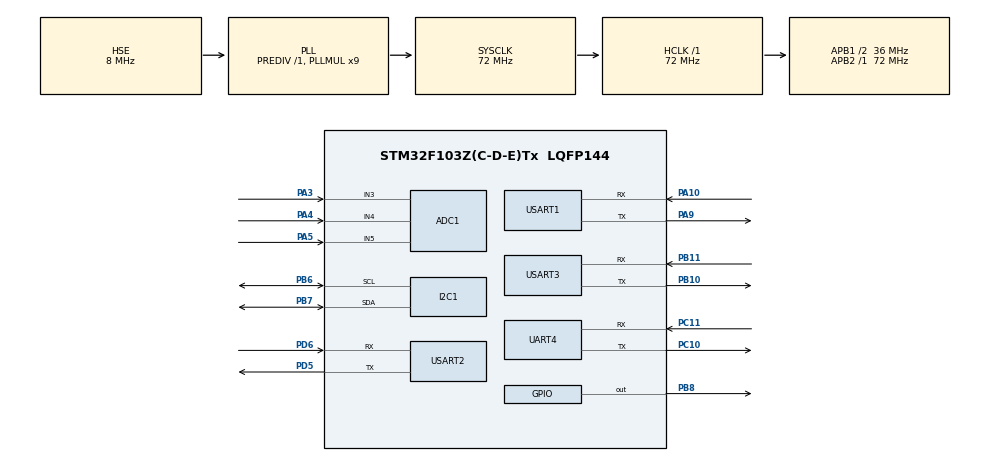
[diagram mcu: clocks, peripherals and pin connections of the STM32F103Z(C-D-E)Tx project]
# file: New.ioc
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ADC1.Channel-0\#ChannelRegularConversion=ADC_CHANNEL_3
ADC1.Channel-1\#ChannelRegularConversion=ADC_CHANNEL_4
ADC1.Channel-2\#ChannelRegularConversion=ADC_CHANNEL_5
ADC1.ContinuousConvMode=ENABLE
ADC1.NbrOfConversion=3
ADC1.NbrOfConversionFlag=1
ADC1.Rank-0\#ChannelRegularConversion=1
ADC1.Rank-1\#ChannelRegularConversion=2
ADC1.Rank-2\#ChannelRegularConversion=3
ADC1.SamplingTime-0\#ChannelRegularConversion=ADC_SAMPLETIME_239CYCLES_5
ADC1.SamplingTime-1\#ChannelRegularConversion=ADC_SAMPLETIME_239CYCLES_5
ADC1.SamplingTime-2\#ChannelRegularConversion=ADC_SAMPLETIME_239CYCLES_5
ADC1.master=1
Dma.ADC1.0.Direction=DMA_PERIPH_TO_MEMORY
Dma.ADC1.0.Instance=DMA1_Channel1
Dma.ADC1.0.MemDataAlignment=DMA_MDATAALIGN_HALFWORD
Dma.ADC1.0.MemInc=DMA_MINC_ENABLE
Dma.ADC1.0.Mode=DMA_NORMAL
Dma.ADC1.0.PeriphDataAlignment=DMA_PDATAALIGN_HALFWORD
Dma.ADC1.0.PeriphInc=DMA_PINC_DISABLE
Dma.ADC1.0.Priority=DMA_PRIORITY_MEDIUM
Dma.Request0=ADC1
Dma.Request1=USART2_RX
Dma.Request2=USART3_RX
Dma.USART2_RX.1.Direction=DMA_PERIPH_TO_MEMORY
Dma.USART2_RX.1.Instance=DMA1_Channel6
Dma.USART2_RX.1.MemDataAlignment=DMA_MDATAALIGN_BYTE
Dma.USART2_RX.1.MemInc=DMA_MINC_ENABLE
Dma.USART2_RX.1.Mode=DMA_NORMAL
Dma.USART2_RX.1.PeriphDataAlignment=DMA_PDATAALIGN_BYTE
Dma.USART2_RX.1.PeriphInc=DMA_PINC_DISABLE
Dma.USART2_RX.1.Priority=DMA_PRIORITY_LOW
Dma.USART3_RX.2.Direction=DMA_PERIPH_TO_MEMORY
Dma.USART3_RX.2.Instance=DMA1_Channel3
Dma.USART3_RX.2.MemDataAlignment=DMA_MDATAALIGN_BYTE
Dma.USART3_RX.2.MemInc=DMA_MINC_ENABLE
Dma.USART3_RX.2.Mode=DMA_NORMAL
Dma.USART3_RX.2.PeriphDataAlignment=DMA_PDATAALIGN_BYTE
Dma.USART3_RX.2.PeriphInc=DMA_PINC_DISABLE
Dma.USART3_RX.2.Priority=DMA_PRIORITY_LOW
I2C1.I2C_Mode=I2C_Fast
Mcu.Family=STM32F1
Mcu.Name=STM32F103Z(C-D-E)Tx
Mcu.Package=LQFP144
NVIC.DMA1_Channel1_IRQn=true\:2\:0\:true\:false\:true\:false\:true\:true
NVIC.DMA1_Channel3_IRQn=true\:0\:0\:false\:false\:true\:false\:true\:true
NVIC.DMA1_Channel6_IRQn=true\:0\:0\:false\:false\:true\:false\:true\:true
NVIC.PriorityGroup=NVIC_PRIORITYGROUP_4
NVIC.USART2_IRQn=true\:0\:0\:false\:false\:true\:true\:true\:true
NVIC.USART3_IRQn=true\:0\:0\:false\:false\:true\:true\:true\:true
OSC_IN.Mode=HSE-External-Oscillator
OSC_IN.Signal=RCC_OSC_IN
OSC_OUT.Mode=HSE-External-Oscillator
OSC_OUT.Signal=RCC_OSC_OUT
PA10.Mode=Asynchronous
PA10.Signal=USART1_RX
PA13.Mode=Serial_Wire
PA13.Signal=SYS_JTMS-SWDIO
PA14.Mode=Serial_Wire
PA14.Signal=SYS_JTCK-SWCLK
PA3.Signal=ADCx_IN3
PA4.Signal=ADCx_IN4
PA5.Signal=ADCx_IN5
PA9.Mode=Asynchronous
PA9.Signal=USART1_TX
PB10.Mode=Asynchronous
PB10.Signal=USART3_TX
PB11.Mode=Asynchronous
PB11.Signal=USART3_RX
PB6.Mode=I2C
PB6.Signal=I2C1_SCL
PB7.Mode=I2C
PB7.Signal=I2C1_SDA
PB8.Signal=GPIO_Output
PC10.Mode=Asynchronous
PC10.Signal=UART4_TX
PC11.Mode=Asynchronous
PC11.Signal=UART4_RX
PC14-OSC32_IN.Mode=LSE-External-Oscillator
PC14-OSC32_IN.Signal=RCC_OSC32_IN
PC15-OSC32_OUT.Mode=LSE-External-Oscillator
PC15-OSC32_OUT.Signal=RCC_OSC32_OUT
PD5.Mode=Asynchronous
PD5.Signal=USART2_TX
PD6.Mode=Asynchronous
PD6.Signal=USART2_RX
ProjectManager.HeapSize=0x200
ProjectManager.StackSize=0x400
ProjectManager.TargetToolchain=STM32CubeIDE
RCC.ADCPresc=RCC_ADCPCLK2_DIV6
RCC.AHBFreq_Value=72000000
RCC.APB1CLKDivider=RCC_HCLK_DIV2
RCC.APB1Freq_Value=36000000
RCC.APB1TimFreq_Value=72000000
RCC.APB2Freq_Value=72000000
RCC.APB2TimFreq_Value=72000000
RCC.HCLKFreq_Value=72000000
RCC.PLLMUL=RCC_PLL_MUL9
RCC.PLLSourceVirtual=RCC_PLLSOURCE_HSE
RCC.SYSCLKFreq_VALUE=72000000
RCC.SYSCLKSource=RCC_SYSCLKSOURCE_PLLCLK
RCC.USBFreq_Value=72000000
SH.ADCx_IN3.0=ADC1_IN3,IN3
SH.ADCx_IN4.0=ADC1_IN4,IN4
SH.ADCx_IN5.0=ADC1_IN5,IN5
UART4.VirtualMode=Asynchronous
USART1.VirtualMode=VM_ASYNC
USART2.VirtualMode=VM_ASYNC
USART3.VirtualMode=VM_ASYNC
board=custom

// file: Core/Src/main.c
/* USER CODE BEGIN Header */
/**
  ******************************************************************************
  * @file           : main.c
  * @brief          : Main program body
  ******************************************************************************
  * @attention
  *
  * Copyright (c) 2025 STMicroelectronics.
  * All rights reserved.
  *
  * This software is licensed under terms that can be found in the LICENSE file
  * in the root directory of this software component.
  * If no LICENSE file comes with this software, it is provided AS-IS.
  *
  ******************************************************************************
  */
/* USER CODE END Header */
#include "main.h"
#include "adc.h"
#include "dma.h"
#include "i2c.h"
#include "usart.h"
#include "gpio.h"

/* USER CODE BEGIN Includes */
#include "./mq4/mq4.h"
#include "./AHT20/AHT20.h"
#include "./MPU6050/mpu6050.h"
#include "../../SYSTEM/delay/delay.h"
#include "../../SYSTEM/sys/sys.h"
#include "./st25dv/st25dv.h"
#include "uart_pp.h"
/* USER CODE END Includes */

/* USER CODE BEGIN PTD */
extern ADC_HandleTypeDef hadc1;

MQ4_HandleTypeDef mq4;
/* USER CODE END PTD */

/* USER CODE BEGIN PD */
#define AT_BUF_SIZE 256
char at_rx_buf[AT_BUF_SIZE];  // 接收缓冲区
uint8_t rx_buf[256];  // 临时接收缓冲区
/* USER CODE END PD */

void SystemClock_Config(void);
/* USER CODE BEGIN PFP */
#define ADC_NbrOfCHN 3
#define ADC_SizeOfCHN 30
#define ADC_DMA_BUF_SIZE        ADC_NbrOfCHN*ADC_SizeOfCHN         /* ADC DMA采集 BUF大小 */
uint16_t g_adc_dma_buf[ADC_DMA_BUF_SIZE];   /* ADC DMA BUF */
extern uint8_t g_adc_dma_sta;               /* DMA传输状态标志, 0,未完成; 1, 已完成 */
#define PackSize 50
/* USER CODE END PFP */

/* USER CODE BEGIN 0 */
uint8_t tx_buf[] =
{
    0x43, 0x4E, 0x00, 0x00, 0x41, 0x16, 0x44, 0x16, 0x44, 0x16,
    0x44, 0x00, 0x32, 0x00, 0x32, 0x00, 0x32, 0x0D, 0x0A,
    0x42, 0x19, 0x0C, 0x1A, 0x37, 0x1B, 0x00, 0x1C, 0x21,
    0x1D, 0x5A, 0x1E, 0x00, 0x3C, 0x2D, 0x3D, 0x0A,
    0x03, 0x78, 0x03, 0x79, 0x0D, 0x0A,
    0x43, 0x03, 0x6C, 0x03, 0x8B, 0x08, 0x50, 0x19,
    0x00, 0x23, 0x3C, 0x0D, 0x0A,
    0x44, 0x01, 0x00, 0x01, 0x01, 0x00, 0x01, 0x00,
    0x00, 0x02, 0x0D, 0x0A
};

uint8_t g_TX_buf[67] = {0};
void sort_copy_u8(uint8_t *producer1, uint8_t *producer2,uint8_t *consumer)
{
    if (producer1 == NULL || consumer == NULL)
    {
        return;
    }

    // producer[0..7] → consumer[4..11]
    memcpy(&consumer[5], producer1, 8);
    memcpy(&consumer[13], &producer2[6], 2);
    memcpy(&consumer[15], &producer2[6], 2);
    memcpy(&consumer[20], &producer1[8], 6);
    memcpy(&consumer[26], &producer2[8], 6);
    memcpy(&consumer[32], &producer1[14], 2);
    memcpy(&consumer[34], &producer2[14], 2);
    memcpy(&consumer[36], &producer2[16], 2);
    memcpy(&consumer[38], &producer2[16], 2);
}

void pack_u16_and_float_to_u8(uint16_t *u16_arr,
                              uint8_t   u16_len,
                              float    *float_arr,
                              uint8_t   float_len)
{
    uint8_t i;
    uint16_t g_out_index = 43;
    /* 处理 uint16_t 数组 */
    for (i = 0; i < u16_len; i++)
    {
    	g_TX_buf[g_out_index++] = (u16_arr[i] >> 8) & 0xFF;  // 高字节
    	g_TX_buf[g_out_index++] =  u16_arr[i] & 0xFF;       // 低字节
    }

    /* 处理 float 数组 */
    for (i = 0; i < float_len; i++)
    {
        uint8_t int_part;
        uint8_t frac_part;

        int_part  = (uint8_t)float_arr[i];                     // 整数部分
        frac_part = (uint8_t)((float_arr[i] - int_part) * 10); // 1 位小数

        g_TX_buf[g_out_index++] = int_part;
        g_TX_buf[g_out_index++] = frac_part;
    }
}
void test_write()
{
	  g_TX_buf[0] = 0x43;
	  g_TX_buf[1] = 0x4E;
	  g_TX_buf[2] = 0x00;
	  g_TX_buf[3] = 0x00;
	  g_TX_buf[4] = 0x41;
	  g_TX_buf[17] = 0x0D;
	  g_TX_buf[18] = 0x0A;
	  g_TX_buf[19] = 0x42;
	  g_TX_buf[40] = 0x0D;
	  g_TX_buf[41] = 0x0A;
	  g_TX_buf[42] = 0x43;
	  g_TX_buf[53] = 0x0D;
	  g_TX_buf[54] = 0x0A;
	  g_TX_buf[55] = 0x44;
	  g_TX_buf[56] = 0x01;

	  g_TX_buf[57] = 0x00;
	  g_TX_buf[58] = 0x01;

	  g_TX_buf[59] = 0x01;

	  g_TX_buf[60] = 0x00;
	  g_TX_buf[61] = 0x01;

	  g_TX_buf[62] = 0x00;

	  g_TX_buf[63] = 0x00;
	  g_TX_buf[64] = 0x02;

	  g_TX_buf[65] = 0x0D;
	  g_TX_buf[66] = 0x0A;
}
/* USER CODE END 0 */

int main(void)
{

  /* USER CODE BEGIN 1 */
    uint16_t i,j;
    uint16_t adcx;
    uint32_t sum;
    float temp;
    float temperature,humidity;
    float temp_hum[2] = {0};
    char message[50];

    int16_t ax, ay, az, gx, gy, gz, tempu;

    uint8_t global_pack[PackSize];
  /* USER CODE END 1 */

  /* MCU Configuration--------------------------------------------------------*/

  /* Reset of all peripherals, Initializes the Flash interface and the Systick. */
  HAL_Init();

  /* Configure the system clock */
  SystemClock_Config();

  /* Initialize all configured peripherals */
  MX_GPIO_Init();
  MX_DMA_Init();
  MX_ADC1_Init();
  MX_USART1_UART_Init();
  MX_I2C1_Init();
  MX_USART2_UART_Init();
  MX_USART3_UART_Init();
  MX_UART4_Init();
  /* USER CODE BEGIN 2 */
  HAL_DMA_Start_IT(&hdma_adc1, (uint32_t)&ADC1->DR, (uint32_t)&g_adc_dma_buf, 0);	/* 启动DMA，并开启中断 */
  HAL_ADC_Start_DMA(&hadc1, (uint32_t*)&g_adc_dma_buf, 0);           	/* 开启ADC，通过DMA传输结果 */
  adc_dma_enable(ADC_DMA_BUF_SIZE);   /* 启动ADC DMA采集 */
  HAL_StatusTypeDef st = ST25DV_WriteCloudURL();
  if(st != HAL_OK) {
	  printf("ST25DV write failed\r\n");
  }
  AHT20_Init();
  MPU6050_Init();
  //蜂鸣器调试
  HAL_GPIO_WritePin(GPIOB, GPIO_PIN_8, GPIO_PIN_SET);
  HAL_Delay(1000);
  HAL_GPIO_WritePin(GPIOB, GPIO_PIN_8, GPIO_PIN_RESET);
  UartPP_StartAll();
  printf("test\r\n");

  const uint8_t * p2= NULL, *p3 =NULL;
  uint16_t adc_buf[3] = {0};
  /* USER CODE END 2 */

  /* Infinite loop */
  /* USER CODE BEGIN WHILE */
  while (1)
  {
	  test_write();
	  if(1 == Rxcp_flag) {
		  if (g_u2.ready) { p2 = g_u2.buf[g_u2.ready_idx]; g_u2.ready = 0;}
		  if (g_u3.ready) { p3 = g_u3.buf[g_u3.ready_idx]; g_u3.ready = 0;}
		  sort_copy_u8(p2,p3,g_TX_buf);
		  Rxcp_flag = 0;
	  }
	  if (g_adc_dma_sta == 1)
	  	  {
	  		  /* 循环显示通道4~通道5的结果 */
	  		  for(j = 0; j < ADC_NbrOfCHN; j++)  /* 遍历5个通道 */
	  		  {
	  			  sum = 0; /* 清零 */
	  			  for (i = 0; i < ADC_DMA_BUF_SIZE / ADC_NbrOfCHN; i++)  /* 每个通道采集了10次数据,进行10次累加 */
	  			  {
	  				  sum += g_adc_dma_buf[(ADC_NbrOfCHN * i) + j];      /* 相同通道的转换数据累加 */
	  			  }
	  			  adcx = sum / (ADC_DMA_BUF_SIZE / ADC_NbrOfCHN);        /* 取平均值 */
	  			  adc_buf[j] = adcx;
	  			  /* 显示结果 */
	  			  //printf("channel%d = %d\r\n",j,adcx);
	  			  temp = (float)adcx * (3.3 / 4096);  /* 获取计算后的带小数的实际电压值，比如3.1111 */
	  			  adcx = temp;                        /* 赋值整数部分给adcx变量，因为adcx为u16整形 */
	  			  temp -= adcx;                       /* 把已经显示的整数部分去掉，留下小数部分，比如3.1111-3=0.1111 */
	  			  temp *= 1000;                       /* 小数部分乘以1000，例如：0.1111就转换为111.1，相当于保留三位小数。 */
	  		  }

	  		  g_adc_dma_sta = 0;                      /* 清除DMA采集完成状态标志 */
	  		  adc_dma_enable(ADC_DMA_BUF_SIZE);       /* 启动下一次ADC DMA采集 */
	  	  }
	  AHT20_Read(temp_hum, &temp_hum[1]);									//读取数据
	  pack_u16_and_float_to_u8(adc_buf,3,temp_hum,2);
	  sprintf(message,"temp:%.1f , hum:%.1f %%\r\n",temperature, humidity); //组合字符串
	  //printf(message);
	  MPU6050_Read(&ax, &ay, &az, &gx, &gy, &gz, &tempu);
	  sprintf(message,"ax:%d, ay:%d, az:%d, gx:%d, gy:%d, gz:%d, tempu:%d\r\n",ax, ay, az, gx, gy, gz, tempu); //组合字符串
	  //printf(message);
	  HAL_UART_Transmit(&huart1,
			  g_TX_buf,
	                    sizeof(g_TX_buf),
	                    500);
	  //	   ==== 调试接收 5G 模块的应答 ====
	  	  memset(g_TX_buf, 0, sizeof(g_TX_buf));
	  	  uint16_t rx_len = 0;
	  	  uint32_t tickstart = HAL_GetTick();
	  	  while ((HAL_GetTick() - tickstart) < 5000)  // 最多等 1 秒
	  	  {
	  	      uint8_t ch;
	  	      if (HAL_UART_Receive(&huart1, &ch, 1, 10) == HAL_OK)
	  	      {
	  	          if (rx_len < sizeof(rx_buf) - 1)
	  	              rx_buf[rx_len++] = ch;
	  	      }
	  	      else
	  	      {
	  	          // 超时没收到字节，就继续循环
	  	      }
	  	  }
	  	  // 如果收到内容，就打印
	  	  if (rx_len > 0)
	  	  {
	  	      rx_buf[rx_len] = '\0';  // 确保字符串结束
	  	      printf("5G Module reply: %s\r\n", rx_buf);
	  	  }
	  	  else
	  	  {
	  	      printf("No reply from 5G module\r\n");
	  	  }
	  	  //HAL_Delay(2000);
    /* USER CODE END WHILE */

  }
}

void SystemClock_Config(void)
{
  RCC_OscInitTypeDef RCC_OscInitStruct = {0};
  RCC_ClkInitTypeDef RCC_ClkInitStruct = {0};
  RCC_PeriphCLKInitTypeDef PeriphClkInit = {0};

  /** Initializes the RCC Oscillators according to the specified parameters
  * in the RCC_OscInitTypeDef structure.
  */
  RCC_OscInitStruct.OscillatorType = RCC_OSCILLATORTYPE_HSE;
  RCC_OscInitStruct.HSEState = RCC_HSE_ON;
  RCC_OscInitStruct.HSEPredivValue = RCC_HSE_PREDIV_DIV1;
  RCC_OscInitStruct.HSIState = RCC_HSI_ON;
  RCC_OscInitStruct.PLL.PLLState = RCC_PLL_ON;
  RCC_OscInitStruct.PLL.PLLSource = RCC_PLLSOURCE_HSE;
  RCC_OscInitStruct.PLL.PLLMUL = RCC_PLL_MUL9;
  if (HAL_RCC_OscConfig(&RCC_OscInitStruct) != HAL_OK)
  {
    Error_Handler();
  }

  /** Initializes the CPU, AHB and APB buses clocks
  */
  RCC_ClkInitStruct.ClockType = RCC_CLOCKTYPE_HCLK|RCC_CLOCKTYPE_SYSCLK
                              |RCC_CLOCKTYPE_PCLK1|RCC_CLOCKTYPE_PCLK2;
  RCC_ClkInitStruct.SYSCLKSource = RCC_SYSCLKSOURCE_PLLCLK;
  RCC_ClkInitStruct.AHBCLKDivider = RCC_SYSCLK_DIV1;
  RCC_ClkInitStruct.APB1CLKDivider = RCC_HCLK_DIV2;
  RCC_ClkInitStruct.APB2CLKDivider = RCC_HCLK_DIV1;

  if (HAL_RCC_ClockConfig(&RCC_ClkInitStruct, FLASH_LATENCY_2) != HAL_OK)
  {
    Error_Handler();
  }
  PeriphClkInit.PeriphClockSelection = RCC_PERIPHCLK_ADC;
  PeriphClkInit.AdcClockSelection = RCC_ADCPCLK2_DIV6;
  if (HAL_RCCEx_PeriphCLKConfig(&PeriphClkInit) != HAL_OK)
  {
    Error_Handler();
  }
}

void Error_Handler(void)
{
  __disable_irq();
  while (1)
  {
  }
}
